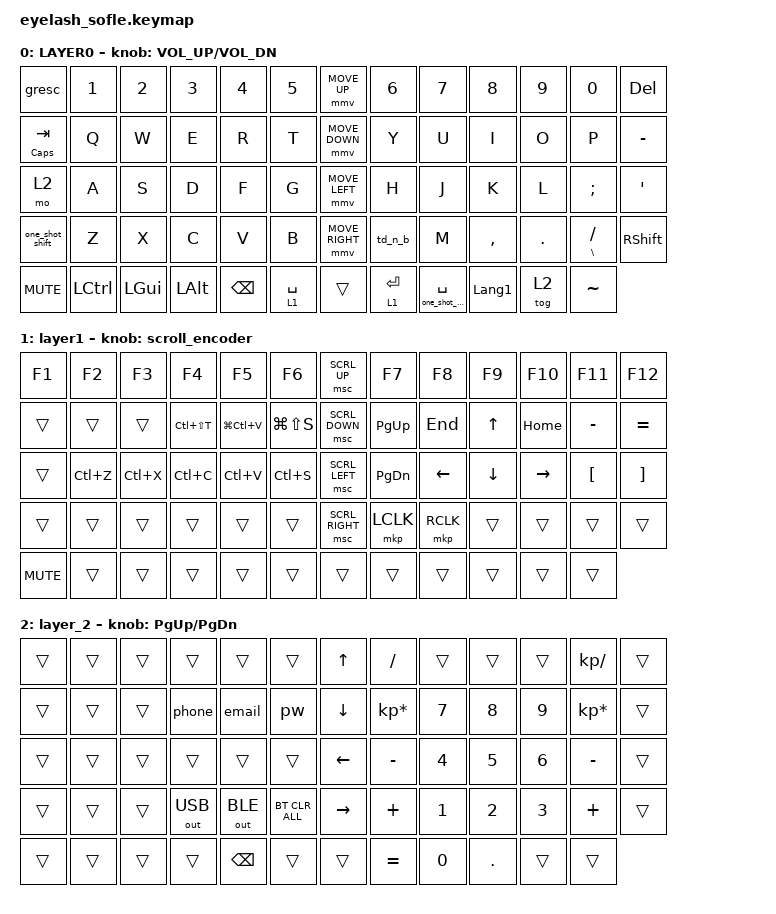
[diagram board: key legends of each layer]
#define ZMK_POINTING_DEFAULT_MOVE_VAL 1200  // 600
#define ZMK_POINTING_DEFAULT_SCRL_VAL 35    // 10

#include <input/processors.dtsi>
#include <zephyr/dt-bindings/input/input-event-codes.h>
#include <behaviors.dtsi>
#include <dt-bindings/zmk/bt.h>
#include <dt-bindings/zmk/keys.h>
#include <dt-bindings/zmk/outputs.h>
#include <dt-bindings/zmk/pointing.h>

/ {
    zip_scroll_scaler: zip_scroll_scaler {
        compatible = "zmk,input-processor-scaler";
        #input-processor-cells = <2>;
        type = <INPUT_EV_REL>;
        codes = <INPUT_REL_WHEEL INPUT_REL_HWHEEL>;
        track-remainders;
    };
};

&mmv_input_listener { input-processors = <&zip_xy_scaler 2 1>; };

&msc_input_listener { input-processors = <&zip_scroll_scaler 2 1>; };

&msc {
    acceleration-exponent = <0>;      // 0
    time-to-max-speed-ms = <0>;       // 300
    delay-ms = <0>;                   // 0
};

&mmv {
    time-to-max-speed-ms = <400>;
    acceleration-exponent = <1>;
};

/ {
    scroll_encoder: scroll_encoder {
        compatible = "zmk,behavior-sensor-rotate";
        #sensor-binding-cells = <0>;
        bindings = <&msc SCRL_DOWN>, <&msc SCRL_UP>;

        tap-ms = <30>;
    };

    sk_shift: sk_shift {
        compatible = "zmk,behavior-sticky-key";
        label = "SK_SHIFT";
        bindings = <&kp>;
        #binding-cells = <1>;
        quick-release;
        release-after-ms = <1000>;
    };

    ht_space: ht_space {
        compatible = "zmk,behavior-hold-tap";
        label = "HT_SPACE";
        bindings = <&kp>, <&kp>;

        #binding-cells = <2>;
        flavor = "tap-preferred";
        tapping-term-ms = <210>;
        quick-tap-ms = <175>;
    };

    spc_shft: spc_shft {
        compatible = "zmk,behavior-hold-tap";
        label = "SPC_SHFT";
        bindings = <&one_shot_shift_R>, <&kp>;

        #binding-cells = <2>;
        tapping-term-ms = <150>;
        quick-tap-ms = <150>;
        flavor = "balanced";
    };

    td_n_b: td_n_b {
        compatible = "zmk,behavior-tap-dance";
        label = "TD_N_B";
        #binding-cells = <0>;
        tapping-term-ms = <190>;
        bindings = <&kp N>, <&kp B>;
    };

    behaviors {
    };

    macros {
        one_shot_shift: one_shot_shift {
            compatible = "zmk,behavior-macro";
            #binding-cells = <0>;
            bindings = <&sk_shift LEFT_SHIFT>;
            label = "ONE_SHOT_SHIFT";
        };

        pw: pw {
            compatible = "zmk,behavior-macro";
            #binding-cells = <0>;
            bindings = <&kp Z &kp V &kp K &kp A &kp N &kp N3 &kp N1 &kp N5>;
            label = "PW";
        };

        email: email {
            compatible = "zmk,behavior-macro";
            #binding-cells = <0>;
            bindings = <&kp J &kp B &kp I &kp N &kp DOT &kp K &kp A &kp N &kp G &kp AT &kp G &kp M &kp A &kp I &kp L &kp DOT &kp C &kp O &kp M>;
            label = "EMAIL";
        };

        phone: phone {
            compatible = "zmk,behavior-macro";
            #binding-cells = <0>;
            bindings = <&kp N0 &kp N1 &kp N0 &kp N2 &kp N8 &kp N6 &kp N9 &kp N1 &kp N4 &kp N6 &kp N6>;
            label = "PHONE";
        };

        one_shot_shift_R: shift_space {
            compatible = "zmk,behavior-macro";
            #binding-cells = <0>;
            bindings = <&sk_shift RIGHT_SHIFT>;
            label = "SHIFT_SPACE";
        };
    };

    combos { compatible = "zmk,combos"; };

    keymap {
        compatible = "zmk,keymap";

        layer0 {
            bindings = <
&gresc            &kp N1            &kp N2        &kp N3        &kp N4         &kp N5         &mmv MOVE_UP     &kp N6       &kp N7             &kp N8          &kp N9   &kp N0         &kp DEL
&mt CAPSLOCK TAB  &kp Q             &kp W         &kp E         &kp R          &kp T          &mmv MOVE_DOWN   &kp Y        &kp U              &kp I           &kp O    &kp P          &kp MINUS
&mo 2             &kp A             &kp S         &kp D         &kp F          &kp G          &mmv MOVE_LEFT   &kp H        &kp J              &kp K           &kp L    &kp SEMI       &kp APOS
&one_shot_shift   &kp Z             &kp X         &kp C         &kp V          &kp B          &mmv MOVE_RIGHT  &td_n_b      &kp M              &kp COMMA       &kp DOT  &mt BSLH FSLH  &kp RIGHT_SHIFT
&kp C_MUTE        &kp LEFT_CONTROL  &kp LEFT_GUI  &kp LEFT_ALT  &kp BACKSPACE  &lt 1 SPACE    &trans           &lt 1 ENTER  &spc_shft 0 SPACE  &kp LANGUAGE_1  &tog 2   &kp TILDE
            >;

            sensor-bindings = <&inc_dec_kp C_VOLUME_UP C_VOL_DN>;
            display-name = "LAYER0";
        };

        layer_1 {
            bindings = <
&kp F1      &kp F2     &kp F3     &kp F4         &kp F5         &kp F6           &msc SCRL_UP     &kp F7     &kp F8     &kp F9    &kp F10    &kp F11           &kp F12
&trans      &trans     &trans     &kp LC(LS(T))  &kp LG(LC(V))  &kp LG(LS(S))    &msc SCRL_DOWN   &kp PG_UP  &kp END    &kp UP    &kp HOME   &kp MINUS         &kp EQUAL
&trans      &kp LC(Z)  &kp LC(X)  &kp LC(C)      &kp LC(V)      &kp LC(S)        &msc SCRL_LEFT   &kp PG_DN  &kp LEFT   &kp DOWN  &kp RIGHT  &kp LEFT_BRACKET  &kp RIGHT_BRACKET
&trans      &trans     &trans     &trans         &trans         &trans           &msc SCRL_RIGHT  &mkp LCLK  &mkp RCLK  &trans    &trans     &trans            &trans
&kp C_MUTE  &trans     &trans     &trans         &trans         &trans           &trans           &trans     &trans     &trans    &trans     &trans
            >;

            display-name = "layer1";
            sensor-bindings = <&scroll_encoder>;
        };

        layer_2 {
            bindings = <
&trans  &trans  &trans  &trans        &trans         &trans            &kp UP_ARROW     &kp SLASH        &trans  &trans   &trans  &kp KP_DIVIDE    &trans
&trans  &trans  &trans  &phone        &email         &pw               &kp DOWN_ARROW   &kp KP_MULTIPLY  &kp N7  &kp N8   &kp N9  &kp KP_MULTIPLY  &trans
&trans  &trans  &trans  &trans        &trans         &trans            &kp LEFT_ARROW   &kp MINUS        &kp N4  &kp N5   &kp N6  &kp MINUS        &trans
&trans  &trans  &trans  &out OUT_USB  &out OUT_BLE   &bt BT_CLR_ALL    &kp RIGHT_ARROW  &kp PLUS         &kp N1  &kp N2   &kp N3  &kp PLUS         &trans
&trans  &trans  &trans  &trans        &kp BACKSPACE  &trans            &trans           &kp EQUAL        &kp N0  &kp DOT  &trans  &trans
            >;

            sensor-bindings = <&inc_dec_kp PAGE_UP PAGE_DOWN>;
        };
    };
};
